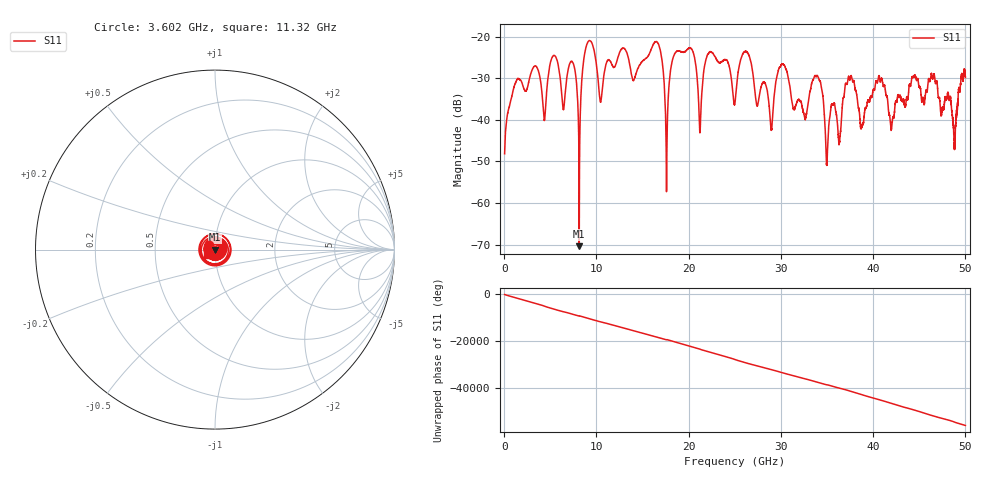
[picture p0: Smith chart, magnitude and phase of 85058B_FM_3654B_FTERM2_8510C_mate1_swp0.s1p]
!Created with skrf (http://scikit-rf.org).
# Hz S RI R 50.0
!freq ReS11 ImS11
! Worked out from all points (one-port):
!   10001 points, 45 MHz to 50 GHz, reference 50 ohm
!   lowest |S11| = -70.4 dB at 8.138 GHz (marker M1), VSWR 1.00, Z = 50 + j0.00549 ohm
!   |S11| at or under -10 dB: start of sweep to end of sweep
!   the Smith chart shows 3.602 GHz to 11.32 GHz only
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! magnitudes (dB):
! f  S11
! 45 MHz  -48.2
! 1.464 GHz  -30.1
! 4.356 GHz  -40.0
! 5.445 GHz  -24.5
! 6.289 GHz  -35.4
! 7.398 GHz  -26.1
! 8.138 GHz  -70.4
! 9.082 GHz  -21.2
! 10.46 GHz  -35.7
! 12.53 GHz  -23.7
! 16.62 GHz  -21.4
! 17.61 GHz  -54.0
! 18.78 GHz  -23.4
! 20.42 GHz  -23.4
! 21.22 GHz  -43.0
! 22.32 GHz  -23.6
! 25.02 GHz  -35.8
! 26.19 GHz  -23.5
! 28.92 GHz  -42.1
! 30.07 GHz  -26.7
! 31.27 GHz  -36.6
! 33.94 GHz  -29.3
! 35 GHz  -50.1
! 37.51 GHz  -30.2
! 38.78 GHz  -41.3
! 43.76 GHz  -35.1
! 48.8 GHz  -46.2
! 50 GHz  -29.8
